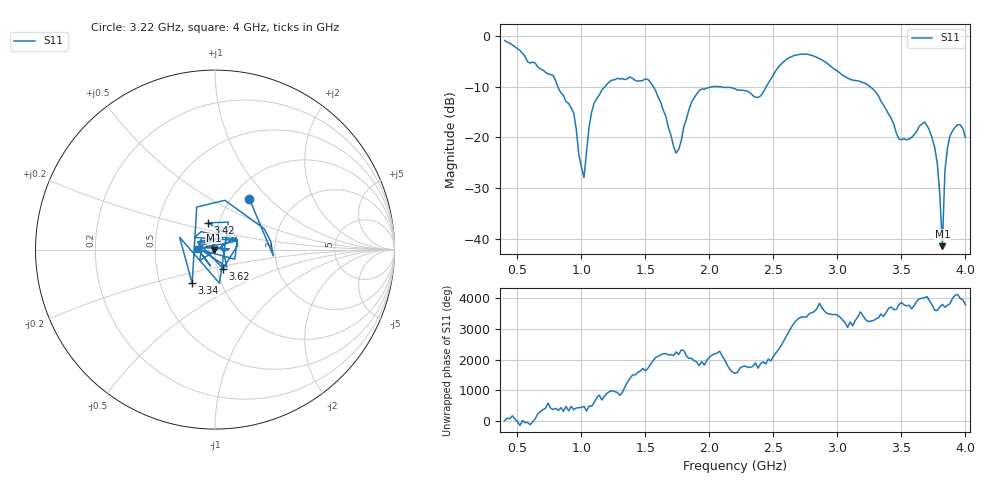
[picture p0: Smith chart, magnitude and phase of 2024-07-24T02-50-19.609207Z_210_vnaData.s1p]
!Created with skrf (http://scikit-rf.org).
# Hz S RI R 50.0
!freq ReS11 ImS11
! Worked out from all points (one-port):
!   181 points, 400 MHz to 4 GHz, reference 50 ohm
!   lowest |S11| = -41.5 dB at 3.82 GHz (marker M1), VSWR 1.02, Z = 49.2 - j0.15 ohm
!   |S11| at or under -10 dB: 815.8 MHz to 1.183 GHz (367.5 MHz wide, 36.8 % of centre); 1.562 GHz to 2.026 GHz (463.8 MHz wide, 25.8 % of centre); 3.256 GHz to end of sweep (the widest 3 of 4)
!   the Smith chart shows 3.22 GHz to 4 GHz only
!   S11 on the Smith chart (normalised r, x): 3.22 GHz: 1.21, +0.77; 3.34 GHz: 0.73, -0.29; 3.42 GHz: 0.89, +0.27; 3.62 GHz: 1.07, -0.23; 4 GHz: 0.82, +0.01
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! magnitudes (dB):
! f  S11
! 400 MHz  -0.9
! 860 MHz  -11.7
! 940 MHz  -15.2
! 1.02 GHz  -27.9
! 1.06 GHz  -17.9
! 1.1 GHz  -13.2
! 1.3 GHz  -8.5
! 1.54 GHz  -9.1
! 1.76 GHz  -22.4
! 1.92 GHz  -10.8
! 2.2 GHz  -10.4
! 2.38 GHz  -12.1
! 2.66 GHz  -3.8
! 3.1 GHz  -8.5
! 3.22 GHz  -9.3
! 3.34 GHz  -12.9
! 3.42 GHz  -16.2
! 3.48 GHz  -20.3
! 3.56 GHz  -20.3
! 3.62 GHz  -18.8
! 3.68 GHz  -17.0
! 3.76 GHz  -22.0
! 3.8 GHz  -31.2
! 3.82 GHz  -41.5
! 3.84 GHz  -26.6
! 3.88 GHz  -19.7
! 3.96 GHz  -17.5
! 4 GHz  -20.0
